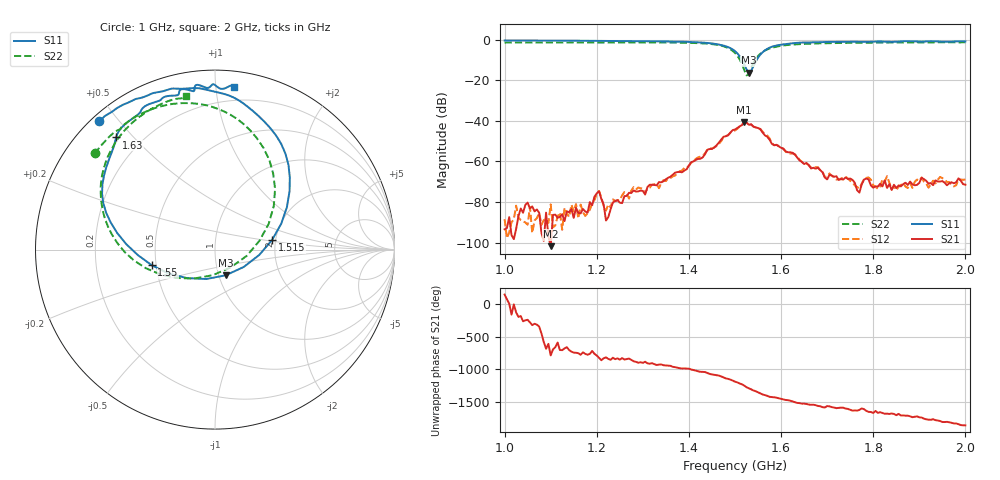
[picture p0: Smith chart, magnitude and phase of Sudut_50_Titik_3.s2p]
# Hz S RI R 50
! CMT, C1220, 16058040, 17.2.0/1
! Date: 14/08/2018 12:37:06
! Data: Format (Calibration Info)
! Freq  S11: Re/Im (F2)  S21: Re/Im (F2)  S12: Re/Im (F2)  S22: Re/Im (F2)
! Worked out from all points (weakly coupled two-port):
!   201 points, 1 GHz to 2 GHz, reference 50 ohm
!   highest |S21| = -40.64 dB at 1.52 GHz (marker M1); lowest = -101.8 dB at 1.1 GHz (marker M2)
!   lowest |S11| = -16.2 dB at 1.53 GHz (marker M3), VSWR 1.37, Z = 53.9 - j15.8 ohm
!   |S11| at or under -10 dB: 1.515 GHz to 1.547 GHz (31.5 MHz wide, 2.06 % of centre)
!   |S22| runs from -17.6 to -1.2 dB; largest |S21 - S12| = 0.00036
!   S11 on the Smith chart (normalised r, x): 1 GHz: 0.02, +0.44; 1.515 GHz: 1.91, +0.22; 1.55 GHz: 0.47, -0.09; 1.63 GHz: 0.11, +0.45; 2 GHz: 0.10, +1.12
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1e9  -0.6462 0.7145  -1.54e-05 1.45e-05  2.32e-05 2.96e-05  -0.6705 0.5359
1.1e9  -0.553 0.7834  3.23e-06 -7.45e-06  8.08e-05 -3.25e-05  -0.6125 0.6049
1.17e9  -0.4746 0.8234  6.29e-05 -2.33e-05  5.45e-05 -1.38e-05  -0.5598 0.6541
1.205e9  -0.4282 0.8419  -4.78e-05 -0.000178  -5.85e-05 -0.000176  -0.529 0.6691
1.215e9  -0.4175 0.8442  -2.99e-05 -8.04e-05  -1.78e-05 -7.82e-05  -0.5254 0.6764
1.255e9  -0.3482 0.8709  -2.75e-05 -8.96e-05  -1.03e-05 -0.000145  -0.4873 0.7109
1.335e9  -0.2126 0.8961  -0.000278 0.000135  -0.00018 0.000124  -0.3761 0.7727
1.45e9  0.1864 0.7927  0.00202 0.000174  0.0021 2.24e-05  0.0161 0.7841
1.5e9  0.4153 0.3245  -0.00161 -0.00594  -0.00151 -0.0056  0.3347 0.3379
1.515e9  0.3174 0.0524  -0.00641 -0.00461  -0.00637 -0.00479  0.2487 0.0504
1.52e9  0.2467 -0.0296  -0.00893 -0.00254  -0.00903 -0.00263  0.1776 -0.034
1.53e9  0.0592 -0.1433  -0.00733 0.00335  -0.00736 0.00338  -0.0131 -0.1427
1.55e9  -0.3528 -0.0868  -0.000494 0.00666  -0.000803 0.00665  -0.3861 -0.1032
1.58e9  -0.6226 0.2596  0.00253 0.00101  0.00268 0.000958  -0.6132 0.1731
1.63e9  -0.551 0.6248  0.00084 -0.00124  0.000867 -0.00119  -0.6166 0.4624
1.67e9  -0.4338 0.7489  -4.78e-05 -0.000696  -2.92e-05 -0.000699  -0.5651 0.5795
1.75e9  -0.2867 0.8485  -0.000373 -5.82e-05  -0.00033 -4.97e-05  -0.4616 0.7064
1.77e9  -0.2335 0.8578  -0.000168 -2.09e-05  -0.000207 -5.47e-05  -0.4376 0.7267
1.785e9  -0.2042 0.8629  -0.000375 5.76e-05  -0.000393 3.48e-05  -0.4185 0.7411
1.81e9  -0.1884 0.8928  -0.000186 0.000149  -0.000194 8.35e-05  -0.3886 0.7627
1.835e9  -0.1272 0.8835  -0.000158 0.000224  -0.000112 0.000275  -0.3591 0.7807
2e9  0.1045 0.9062  0.000175 -0.000201  0.000226 -0.00028  -0.159 0.8539
